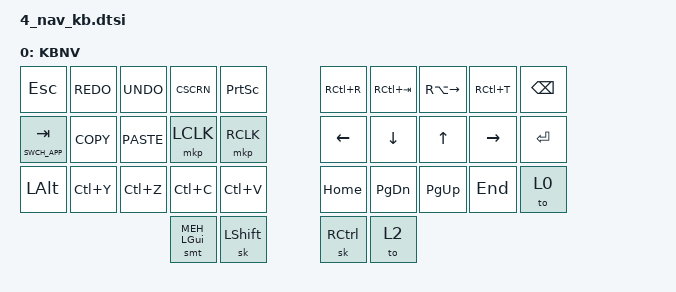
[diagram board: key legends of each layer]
/*
 * Keyboard Navigation Layer
*/

/ {
  keymap {
    compatible = "zmk,keymap";

    base_heb {
      label = "KBNV";
      bindings = <
// ╭───────────────┬───────────────┬───────────────┬───────────────┬───────────────╮   ╭───────────────┬───────────────┬───────────────┬───────────────┬───────────────╮
//  0               1               2               3               4                   5               6               7               8               9
    &kp ESC         &kp REDO        &kp UNDO        &kp CSCRN       &kp PSCRN           &kp RC(R)       &kp RC(TAB)     &kp RA(RIGHT)   &kp RC(T)       &kp BSPC
// ├───────────────├───────────────┼───────────────┼───────────────┼───────────────┤   ├───────────────├───────────────┼───────────────┼───────────────┼───────────────┤
//  10              11              12              13              14                  15              16              17              18              19
    &mt SWCH_APP TAB &kp COPY       &kp PASTE       &mkp LCLK       &mkp RCLK           &kp LEFT        &kp DOWN        &kp UP          &kp RIGHT       &kp RET
// ├───────────────├───────────────┼───────────────┼───────────────┼───────────────┤   ├───────────────├───────────────┼───────────────┼───────────────┼───────────────┤
//  20              21              22              23              24                  25              26              27              28              29
    &kp LALT        &kp LC(Y)       &kp LC(Z)       &kp LC(C)       &kp LC(V)           &kp HOME        &kp PG_DN       &kp PG_UP       &kp END         &to 0
// ╰───────────────┴───────────────┼───────────────┴───────┬───────┴───────────────┤   ┼───────────────┴───────┬───────┴───────────────┤───────────────┴───────────────╯
//                                  30                      31                          32                      33              
                                    &smt MEH LGUI           &sk LSHIFT                  &sk RCTRL               &to 2
//                                 ╰───────────────────────┴───────────────────────╯   ╰───────────────────────┴───────────────────────╯
      >;
    };
  };
};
